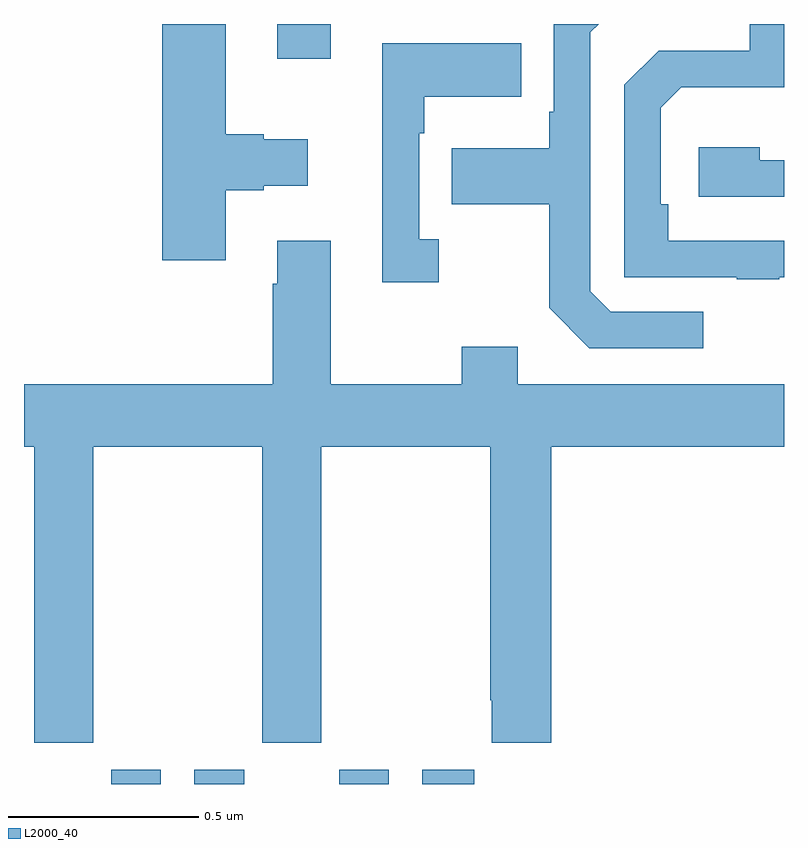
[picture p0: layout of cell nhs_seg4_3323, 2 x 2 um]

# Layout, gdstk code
import gdstk
lib = gdstk.Library(unit=1e-6, precision=1e-09)
def R(c, l, rs):  # rectangles x0, y0, x1, y1
    for r in rs: c.add(gdstk.rectangle(r[:2], r[2:], *l))
def P(c, l, *ps):  # polygons
    for p in ps: c.add(gdstk.Polygon(p, *l))
L2000_40 = (2000, 40)

nhs_seg4_3323 = lib.new_cell('nhs_seg4_3323')
R(nhs_seg4_3323, L2000_40, [(151.229,827.9,151.36,827.938), (151.448,827.9,151.579,827.938), (151.829,827.9,151.96,827.938), (152.048,827.9,152.185,827.938), (151.667,829.809,151.807,829.9)])
P(nhs_seg4_3323, L2000_40, [(151.531,829.463),(151.631,829.463),(151.631,829.475),(151.747,829.475),(151.747,829.597),(151.631,829.597),(151.631,829.61),(151.531,829.61),(151.531,829.9),(151.364,829.9),(151.364,829.278),(151.531,829.278)],
  [(152.788,829.143),(152.544,829.143),(152.49,829.197),(152.49,829.878),(152.512,829.9),(152.394,829.9),(152.394,829.669),(152.382,829.669),(152.382,829.573),(152.125,829.573),(152.125,829.426),(152.382,829.426),(152.382,829.153),(152.487,829.047),(152.788,829.047)],
  [(152.987,829.233),(153,829.233),(153,829.329),(152.696,829.329),(152.696,829.426),(152.676,829.426),(152.676,829.68),(152.729,829.733),(153,829.733),(153,829.9),(152.91,829.9),(152.91,829.83),(152.67,829.83),(152.58,829.74),(152.58,829.233),(152.875,829.233),(152.875,829.228),(152.987,829.228)],
  [(152.092,829.334),(152.04,829.334),(152.04,829.613),(152.053,829.613),(152.053,829.709),(152.309,829.709),(152.309,829.849),(151.943,829.849),(151.943,829.221),(152.092,829.221)],
  [(153,829.542),(152.936,829.542),(152.936,829.576),(152.775,829.576),(152.775,829.446),(153,829.446)],
  [(152.227,828.121),(152.231,828.121),(152.231,828.009),(152.387,828.009),(152.387,828.788),(153,828.788),(153,828.952),(152.299,828.952),(152.299,829.051),(152.152,829.051),(152.152,828.952),(151.807,828.952),(151.807,829.33),(151.667,829.33),(151.667,829.217),(151.655,829.217),(151.655,828.952),(151,828.952),(151,828.788),(151.027,828.788),(151.027,828.009),(151.182,828.009),(151.182,828.788),(151.627,828.788),(151.627,828.009),(151.782,828.009),(151.782,828.788),(152.227,828.788)])

lib.write_gds('nhs_seg4_3323.gds')
